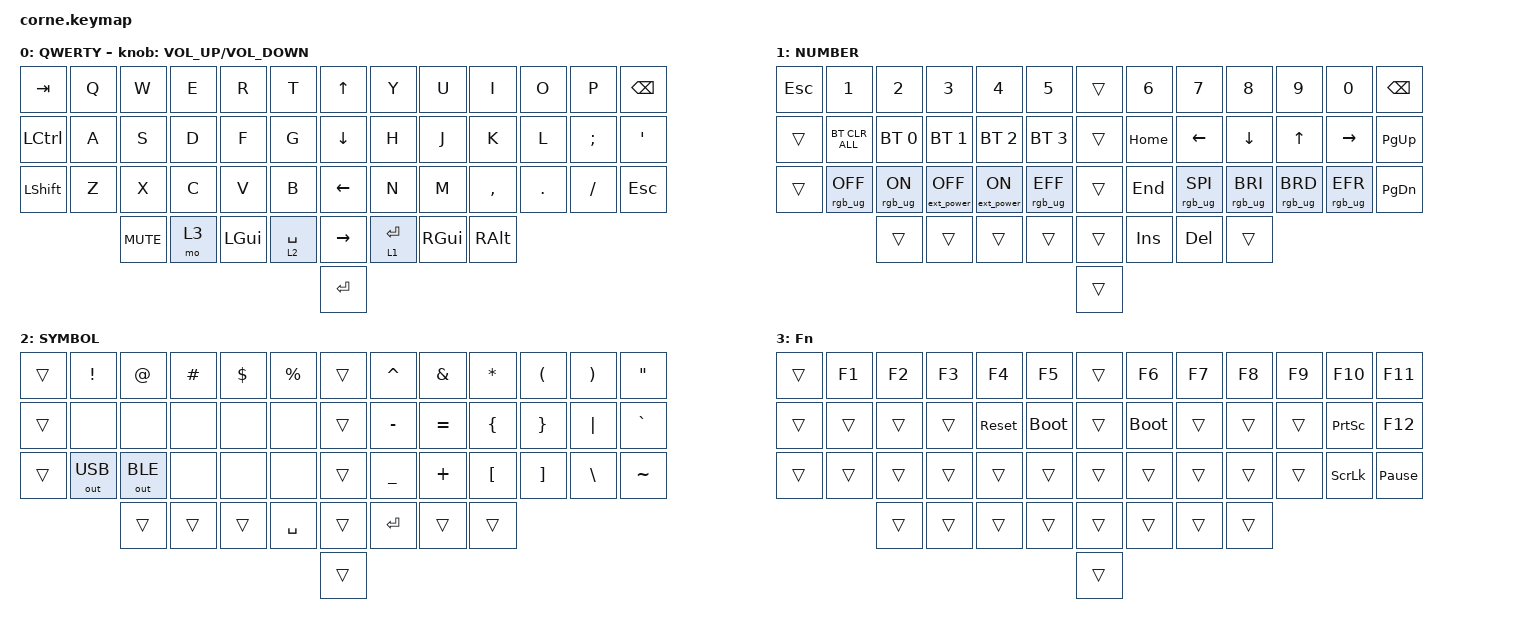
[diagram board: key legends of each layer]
#include <behaviors.dtsi>
#include <dt-bindings/zmk/bt.h>
#include <dt-bindings/zmk/ext_power.h>
#include <dt-bindings/zmk/keys.h>
#include <dt-bindings/zmk/outputs.h>
#include <dt-bindings/zmk/rgb.h>

/ {
    behaviors {
        td0: td0 {
            compatible = "zmk,behavior-tap-dance";
            label = "TD0";
            #binding-cells = <0>;
            bindings = <&kp LEFT_SHIFT>, <&kp CAPS>;
        };
    };

    keymap {
        compatible = "zmk,keymap";

        default_layer {
            display-name = "QWERTY";

            // --------------------------------------------------------------------------------
            // |  TAB |  Q  |  W  |  E  |  R  |  T  |   |  Y  |  U   |  I  |  O  |  P  | BKSP |
            // | CTRL |  A  |  S  |  D  |  F  |  G  |   |  H  |  J   |  K  |  L  |  ;  |  '   | 
            // | SHFT |  Z  |  X  |  C  |  V  |  B  |   |  N  |  M   |  ,  |  .  |  /  | ESC  |
            //                    | GUI | LWR | SPC |   | ENT | RSE  | ALT |

            bindings = <
&kp TAB    &kp Q  &kp W       &kp E  &kp R     &kp T          &kp UP_ARROW     &kp Y        &kp U     &kp I      &kp O    &kp P     &kp BSPC
&kp LCTRL  &kp A  &kp S       &kp D  &kp F     &kp G          &kp DOWN_ARROW   &kp H        &kp J     &kp K      &kp L    &kp SEMI  &kp SQT
&kp LSHFT  &kp Z  &kp X       &kp C  &kp V     &kp B          &kp LEFT_ARROW   &kp N        &kp M     &kp COMMA  &kp DOT  &kp FSLH  &kp ESC
                  &kp C_MUTE  &mo 3  &kp LGUI  &lt 2 SPACE    &kp RIGHT_ARROW  &lt 1 ENTER  &kp RGUI  &kp RALT
                                                              &kp ENTER
            >;

            label = "QWERTY";
            sensor-bindings = <&inc_dec_kp C_VOLUME_UP C_VOLUME_DOWN>;
        };

        lower_layer {
            display-name = "NUMBER";

            // -----------------------------------------------------------------------------------------
            // |  TAB |  1  |  2  |  3  |  4  |  5  |   |  6  |  7  |  8  |  9  |  0  | BKSP |
            // | BTCLR| BT1 | BT2 | BT3 | BT4 | BT5 |   | LFT | DWN |  UP | RGT |     |      |
            // | SHFT |     |     |     |     |     |   |     |     |     |     |     |      |
            //                    | GUI |     | SPC |   | ENT |     | ALT |

            bindings = <
&kp ESC  &kp N1           &kp N2          &kp N3             &kp N4            &kp N5             &trans  &kp N6    &kp N7           &kp N8           &kp N9           &kp N0           &kp BSPC
&trans   &bt BT_CLR_ALL   &bt BT_SEL 0    &bt BT_SEL 1       &bt BT_SEL 2      &bt BT_SEL 3       &trans  &kp HOME  &kp LEFT         &kp DOWN         &kp UP           &kp RIGHT        &kp PG_UP
&trans   &rgb_ug RGB_OFF  &rgb_ug RGB_ON  &ext_power EP_OFF  &ext_power EP_ON  &rgb_ug RGB_EFF    &trans  &kp END   &rgb_ug RGB_SPI  &rgb_ug RGB_BRI  &rgb_ug RGB_BRD  &rgb_ug RGB_EFR  &kp PG_DN
                          &trans          &trans             &trans            &trans             &trans  &kp INS   &kp DEL          &trans
                                                                                                  &trans
            >;
        };

        raise_layer {
            display-name = "SYMBOL";

            // -----------------------------------------------------------------------------------------
            // |  TAB |  !  |  @  |  #  |  $  |  %  |   |  ^  |  &  |  *  |  (  |  )  | BKSP |
            // | CTRL |     |     |     |     |     |   |  -  |  =  |  [  |  ]  |  \  |  `   |
            // | SHFT |     |     |     |     |     |   |  _  |  +  |  {  |  }  | "|" |  ~   |
            //                    | GUI |     | SPC |   | ENT |     | ALT |

            bindings = <
&trans  &kp EXCL      &kp AT        &kp HASH  &kp DLLR  &kp PRCNT    &trans  &kp CARET  &kp AMPS   &kp ASTRK         &kp LPAR           &kp RPAR  &kp DOUBLE_QUOTES
&trans  &none         &none         &none     &none     &none        &trans  &kp MINUS  &kp EQUAL  &kp LEFT_BRACE    &kp RIGHT_BRACE    &kp PIPE  &kp GRAVE
&trans  &out OUT_USB  &out OUT_BLE  &none     &none     &none        &trans  &kp UNDER  &kp PLUS   &kp LEFT_BRACKET  &kp RIGHT_BRACKET  &kp BSLH  &kp TILDE
                      &trans        &trans    &trans    &kp SPACE    &trans  &kp RET    &trans     &trans
                                                                     &trans
            >;
        };

        layer_3 {
            display-name = "Fn";
            bindings = <
&trans  &kp F1  &kp F2  &kp F3  &kp F4      &kp F5         &trans  &kp F6       &kp F7  &kp F8  &kp F9  &kp F10          &kp F11
&trans  &trans  &trans  &trans  &sys_reset  &bootloader    &trans  &bootloader  &trans  &trans  &trans  &kp PRINTSCREEN  &kp F12
&trans  &trans  &trans  &trans  &trans      &trans         &trans  &trans       &trans  &trans  &trans  &kp SCROLLLOCK   &kp PAUSE_BREAK
                &trans  &trans  &trans      &trans         &trans  &trans       &trans  &trans
                                                           &trans
            >;
        };
    };
};
